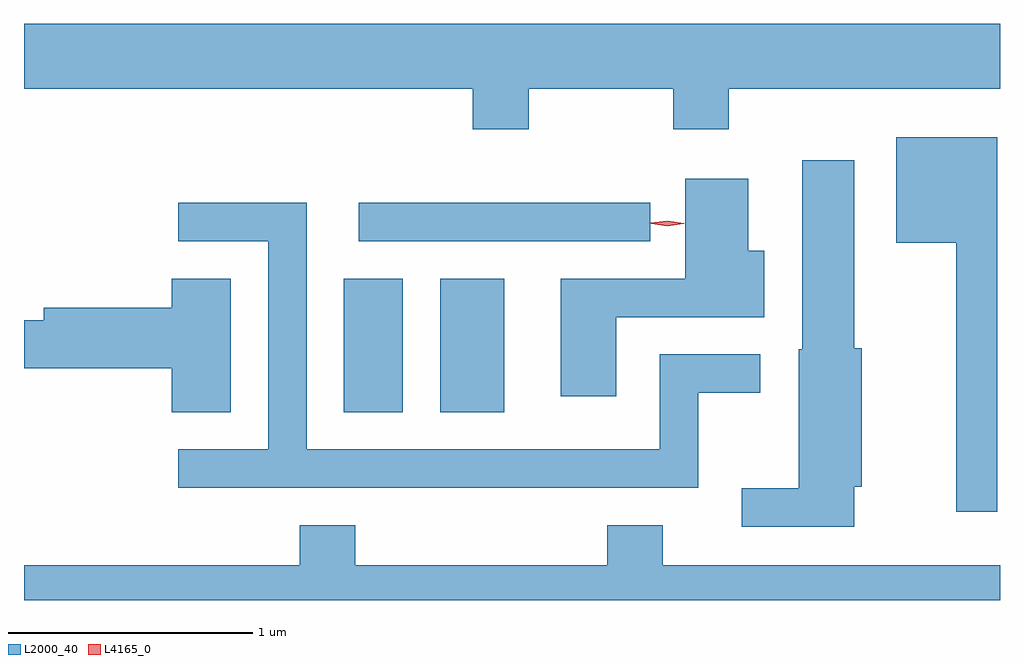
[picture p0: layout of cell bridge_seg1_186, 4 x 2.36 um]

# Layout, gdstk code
import gdstk
lib = gdstk.Library(unit=1e-6, precision=1e-09)
def R(c, l, rs):  # rectangles x0, y0, x1, y1
    for r in rs: c.add(gdstk.rectangle(r[:2], r[2:], *l))
def P(c, l, *ps):  # polygons
    for p in ps: c.add(gdstk.Polygon(p, *l))
L2000_40 = (2000, 40)
L4165_0 = (4165, 0)

bridge_seg1_186 = lib.new_cell('bridge_seg1_186')
R(bridge_seg1_186, L2000_40, [(822.051,927.111,822.294,927.659), (822.446,927.111,822.709,927.659), (822.113,927.811,823.308,927.969)])
P(bridge_seg1_186, L2000_40, [(822.809,928.436),(823.401,928.436),(823.401,928.271),(823.629,928.271),(823.629,928.436),(824.741,928.436),(824.741,928.704),(820.741,928.704),(820.741,928.436),(822.581,928.436),(822.581,928.271),(822.809,928.271)],
  [(824.729,928.239),(824.316,928.239),(824.316,927.806),(824.561,927.806),(824.561,926.703),(824.729,926.703)],
  [(824.144,926.806),(824.174,926.806),(824.174,927.374),(824.144,927.374),(824.144,928.144),(823.931,928.144),(823.931,927.37),(823.916,927.37),(823.916,926.799),(823.683,926.799),(823.683,926.641),(824.144,926.641)],
  [(823.169,927.501),(823.774,927.501),(823.774,927.774),(823.709,927.774),(823.709,928.069),(823.451,928.069),(823.451,927.659),(822.941,927.659),(822.941,927.176),(823.169,927.176)],
  [(823.504,927.191),(823.758,927.191),(823.758,927.349),(823.346,927.349),(823.346,926.959),(821.899,926.959),(821.899,927.969),(821.373,927.969),(821.373,927.811),(821.741,927.811),(821.741,926.959),(821.373,926.959),(821.373,926.801),(823.504,926.801)],
  [(821.589,927.659),(821.346,927.659),(821.346,927.539),(820.821,927.539),(820.821,927.489),(820.741,927.489),(820.741,927.291),(821.346,927.291),(821.346,927.111),(821.589,927.111)],
  [(823.131,926.649),(823.131,926.484),(822.099,926.484),(822.099,926.649),(821.871,926.649),(821.871,926.484),(820.741,926.484),(820.741,926.34),(824.741,926.34),(824.741,926.484),(823.359,926.484),(823.359,926.649)])
P(bridge_seg1_186, L4165_0, [(823.378,927.874),(823.313,927.884),(823.312,927.884),(823.313,927.885),(823.378,927.894),(823.444,927.884),(823.444,927.884),(823.444,927.883)],
  [(823.378,927.876),(823.31,927.886),(823.309,927.887),(823.31,927.887),(823.378,927.896),(823.446,927.886),(823.447,927.886),(823.446,927.885)])

lib.write_gds('bridge_seg1_186.gds')
